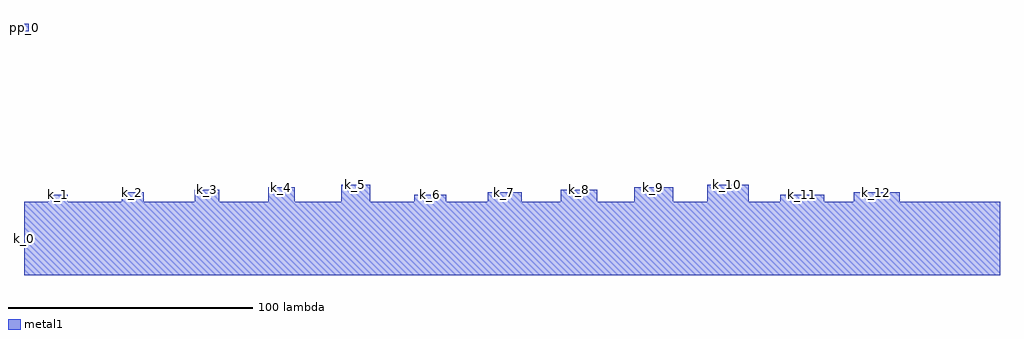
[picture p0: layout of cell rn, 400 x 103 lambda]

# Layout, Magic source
magic
tech exttest
<< metal1 >>
rect 0 0 400 30
rect 10 30 18 33
rect 40 30 49 34
rect 70 30 80 35
rect 100 30 111 36
rect 130 30 142 37
rect 160 30 173 33
rect 190 30 204 34
rect 220 30 235 35
rect 250 30 266 36
rect 280 30 297 37
rect 310 30 328 33
rect 340 30 359 34
rect 0 100 2 103
<< labels >>
rlabel metal1 0 0 0 30 0 k_0
port 1 nsew
rlabel metal1 10 33 18 33 0 k_1
port 2 nsew
rlabel metal1 40 34 49 34 0 k_2
port 3 nsew
rlabel metal1 70 35 80 35 0 k_3
port 4 nsew
rlabel metal1 100 36 111 36 0 k_4
port 5 nsew
rlabel metal1 130 37 142 37 0 k_5
port 6 nsew
rlabel metal1 160 33 173 33 0 k_6
port 7 nsew
rlabel metal1 190 34 204 34 0 k_7
port 8 nsew
rlabel metal1 220 35 235 35 0 k_8
port 9 nsew
rlabel metal1 250 36 266 36 0 k_9
port 10 nsew
rlabel metal1 280 37 297 37 0 k_10
port 11 nsew
rlabel metal1 310 33 328 33 0 k_11
port 12 nsew
rlabel metal1 340 34 359 34 0 k_12
port 13 nsew
rlabel metal1 0 100 0 103 0 pp_0
port 14 nsew
rlabel metal1 2 100 2 103 0 pp_1
port 15 nsew
<< end >>
